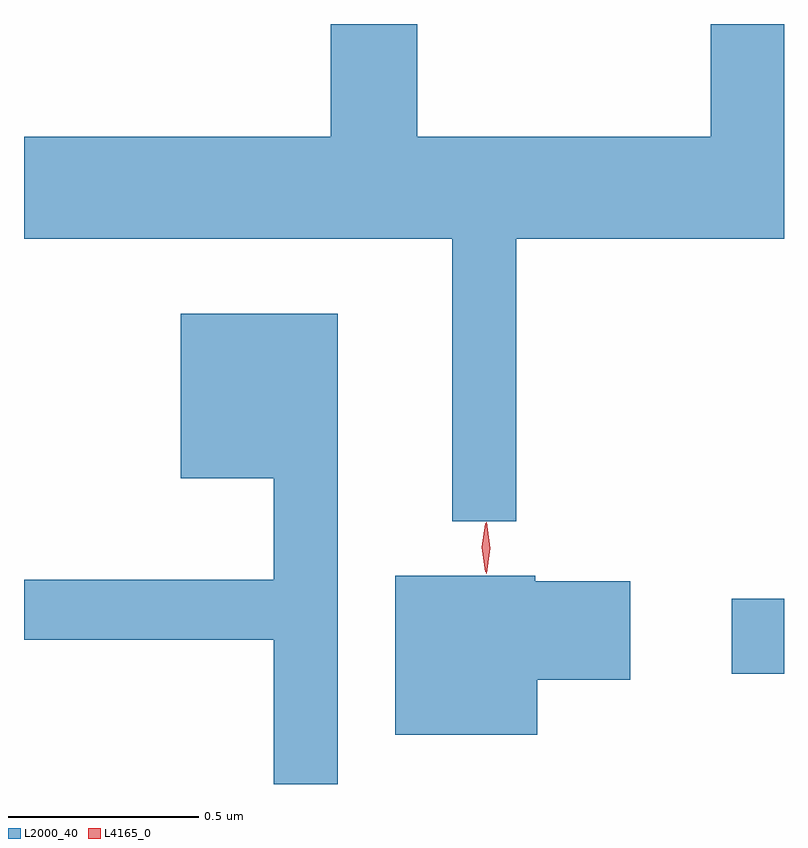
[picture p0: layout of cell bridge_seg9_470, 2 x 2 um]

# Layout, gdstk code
import gdstk
lib = gdstk.Library(unit=1e-6, precision=1e-09)
def R(c, l, rs):  # rectangles x0, y0, x1, y1
    for r in rs: c.add(gdstk.rectangle(r[:2], r[2:], *l))
def P(c, l, *ps):  # polygons
    for p in ps: c.add(gdstk.Polygon(p, *l))
L2000_40 = (2000, 40)
L4165_0 = (4165, 0)

bridge_seg9_470 = lib.new_cell('bridge_seg9_470')
R(bridge_seg9_470, L2000_40, [(394.346,2072.811,394.484,2073.009)])
P(bridge_seg9_470, L2000_40, [(393.779,2073.956),(394.484,2073.956),(394.484,2074.521),(394.291,2074.521),(394.291,2074.224),(393.519,2074.224),(393.519,2074.521),(393.291,2074.521),(393.291,2074.224),(392.484,2074.224),(392.484,2073.956),(393.611,2073.956),(393.611,2073.213),(393.779,2073.213)],
  [(393.309,2073.759),(392.896,2073.759),(392.896,2073.326),(393.141,2073.326),(393.141,2073.059),(392.484,2073.059),(392.484,2072.901),(393.141,2072.901),(393.141,2072.521),(393.309,2072.521)],
  [(393.834,2072.796),(394.079,2072.796),(394.079,2073.054),(393.83,2073.054),(393.83,2073.069),(393.461,2073.069),(393.461,2072.651),(393.834,2072.651)])
P(bridge_seg9_470, L4165_0, [(393.701,2073.074),(393.701,2073.075),(393.692,2073.142),(393.701,2073.21),(393.701,2073.21),(393.702,2073.21),(393.711,2073.142),(393.702,2073.075)],
  [(393.698,2073.08),(393.698,2073.08),(393.688,2073.144),(393.698,2073.206),(393.698,2073.207),(393.699,2073.206),(393.708,2073.144),(393.699,2073.08)])

lib.write_gds('bridge_seg9_470.gds')
